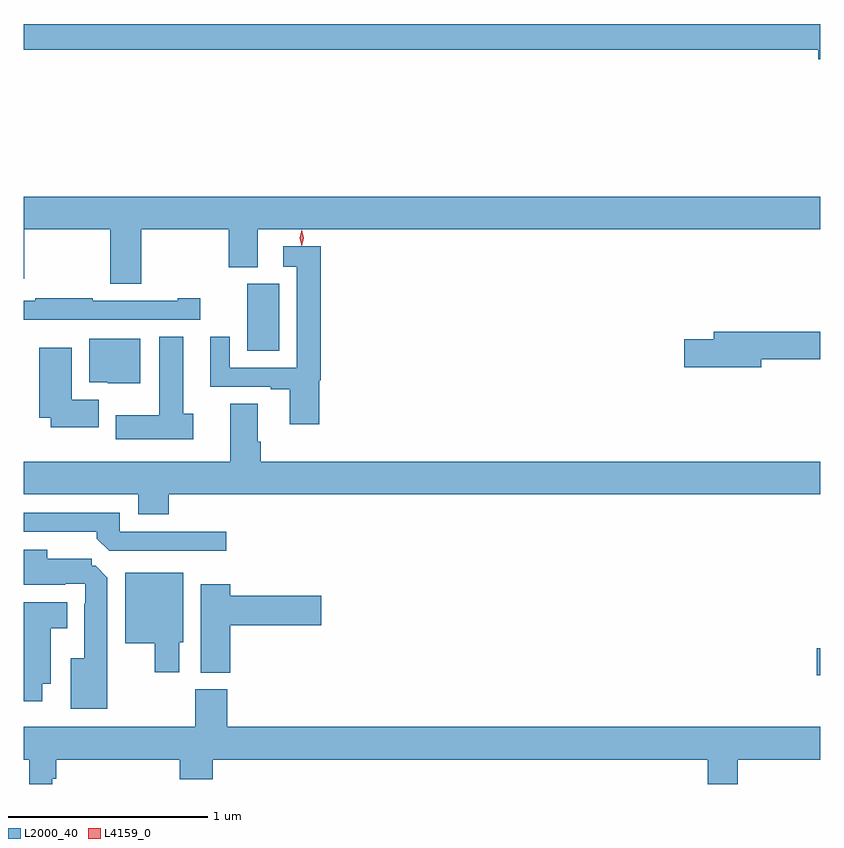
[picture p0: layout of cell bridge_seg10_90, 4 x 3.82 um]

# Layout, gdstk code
import gdstk
lib = gdstk.Library(unit=1e-6, precision=1e-09)
def R(c, l, rs):  # rectangles x0, y0, x1, y1
    for r in rs: c.add(gdstk.rectangle(r[:2], r[2:], *l))
def P(c, l, *ps):  # polygons
    for p in ps: c.add(gdstk.Polygon(p, *l))
L2000_40 = (2000, 40)
L4159_0 = (4159, 0)

bridge_seg10_90 = lib.new_cell('bridge_seg10_90')
R(bridge_seg10_90, L2000_40, [(591.354,1258.115,591.371,1258.25), (588.494,1259.746,588.655,1260.081)])
P(bridge_seg10_90, L2000_40, [(591.371,1261.387),(587.371,1261.387),(587.371,1261.258),(591.362,1261.258),(591.362,1261.211),(591.371,1261.211)],
  [(587.961,1260.356),(588.4,1260.356),(588.4,1260.166),(588.547,1260.166),(588.547,1260.356),(591.371,1260.356),(591.371,1260.52),(587.371,1260.52),(587.371,1260.108),(587.373,1260.108),(587.373,1260.356),(587.806,1260.356),(587.806,1260.082),(587.961,1260.082)],
  [(588.854,1259.597),(588.862,1259.597),(588.862,1260.271),(588.675,1260.271),(588.675,1260.168),(588.743,1260.168),(588.743,1259.661),(588.405,1259.661),(588.405,1259.815),(588.308,1259.815),(588.308,1259.565),(588.611,1259.565),(588.611,1259.553),(588.707,1259.553),(588.707,1259.376),(588.854,1259.376)],
  [(587.603,1259.901),(588.256,1259.901),(588.256,1260.01),(588.143,1260.01),(588.143,1259.997),(587.717,1259.997),(587.717,1260.01),(587.428,1260.01),(587.428,1259.997),(587.371,1259.997),(587.371,1259.9),(587.603,1259.9)],
  [(591.076,1259.704),(591.371,1259.704),(591.371,1259.84),(590.837,1259.84),(590.837,1259.804),(590.688,1259.804),(590.688,1259.662),(591.076,1259.662)],
  [(588.223,1259.43),(588.172,1259.43),(588.172,1259.815),(588.05,1259.815),(588.05,1259.422),(587.833,1259.422),(587.833,1259.3),(588.223,1259.3)],
  [(587.956,1259.806),(587.699,1259.806),(587.699,1259.588),(587.793,1259.588),(587.793,1259.582),(587.956,1259.582)],
  [(587.748,1259.5),(587.611,1259.5),(587.611,1259.761),(587.447,1259.761),(587.447,1259.408),(587.507,1259.408),(587.507,1259.36),(587.748,1259.36)],
  [(588.098,1259.024),(591.371,1259.024),(591.371,1259.188),(588.56,1259.188),(588.56,1259.288),(588.547,1259.288),(588.547,1259.48),(588.407,1259.48),(588.407,1259.188),(587.371,1259.188),(587.371,1259.024),(587.945,1259.024),(587.945,1258.925),(588.098,1258.925)],
  [(588.388,1258.836),(587.853,1258.836),(587.853,1258.932),(587.371,1258.932),(587.371,1258.836),(587.738,1258.836),(587.738,1258.802),(587.799,1258.74),(588.388,1258.74)],
  [(587.791,1258.605),(587.731,1258.665),(587.712,1258.665),(587.712,1258.701),(587.488,1258.701),(587.488,1258.747),(587.371,1258.747),(587.371,1258.571),(587.579,1258.571),(587.579,1258.575),(587.679,1258.575),(587.679,1258.475),(587.675,1258.475),(587.675,1258.201),(587.606,1258.201),(587.606,1257.947),(587.791,1257.947)],
  [(588.151,1258.281),(588.172,1258.281),(588.172,1258.63),(587.879,1258.63),(587.879,1258.277),(588.029,1258.277),(588.029,1258.131),(588.151,1258.131)],
  [(588.407,1258.367),(588.865,1258.367),(588.865,1258.514),(588.407,1258.514),(588.407,1258.573),(588.26,1258.573),(588.26,1258.129),(588.407,1258.129)],
  [(587.464,1258.073),(587.506,1258.073),(587.506,1258.352),(587.59,1258.352),(587.59,1258.483),(587.371,1258.483),(587.371,1257.984),(587.464,1257.984)],
  [(587.514,1257.596),(587.534,1257.596),(587.534,1257.692),(588.155,1257.692),(588.155,1257.593),(588.32,1257.593),(588.32,1257.692),(590.807,1257.692),(590.807,1257.569),(590.958,1257.569),(590.958,1257.692),(591.371,1257.692),(591.371,1257.856),(588.392,1257.856),(588.392,1258.044),(588.232,1258.044),(588.232,1257.856),(587.371,1257.856),(587.371,1257.692),(587.398,1257.692),(587.398,1257.569),(587.514,1257.569)])
P(bridge_seg10_90, L4159_0, [(588.767,1260.271),(588.757,1260.312),(588.767,1260.353),(588.767,1260.353),(588.768,1260.353),(588.777,1260.312),(588.768,1260.271),(588.768,1260.271)])

lib.write_gds('bridge_seg10_90.gds')
